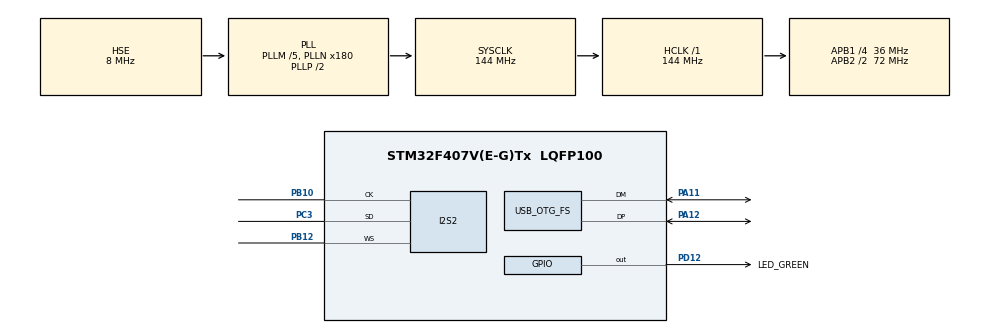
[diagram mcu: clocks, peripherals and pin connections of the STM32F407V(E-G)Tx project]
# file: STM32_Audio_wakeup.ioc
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Dma.Request0=SPI2_RX
Dma.SPI2_RX.0.Direction=DMA_PERIPH_TO_MEMORY
Dma.SPI2_RX.0.FIFOMode=DMA_FIFOMODE_DISABLE
Dma.SPI2_RX.0.Instance=DMA1_Stream3
Dma.SPI2_RX.0.MemDataAlignment=DMA_MDATAALIGN_HALFWORD
Dma.SPI2_RX.0.MemInc=DMA_MINC_ENABLE
Dma.SPI2_RX.0.Mode=DMA_CIRCULAR
Dma.SPI2_RX.0.PeriphDataAlignment=DMA_PDATAALIGN_HALFWORD
Dma.SPI2_RX.0.PeriphInc=DMA_PINC_DISABLE
Dma.SPI2_RX.0.Priority=DMA_PRIORITY_HIGH
I2S2.AudioFreq=I2S_AUDIOFREQ_16K
I2S2.AudioFreqCustom=64000
I2S2.CPOL=I2S_CPOL_LOW
I2S2.DataFormat=I2S_DATAFORMAT_16B
I2S2.ErrorAudioFreq=0.0 %
I2S2.FullDuplexMode=I2S_FULLDUPLEXMODE_DISABLE
I2S2.Instance=SPI$Index
I2S2.Mode=I2S_MODE_MASTER_RX
I2S2.RealAudioFreq=16.0 KHz
I2S2.Standard=I2S_STANDARD_MSB
I2S2.VirtualMode=I2S_MODE_MASTER
Mcu.Family=STM32F4
Mcu.Name=STM32F407V(E-G)Tx
Mcu.Package=LQFP100
NVIC.DMA1_Stream3_IRQn=true\:0\:0\:false\:false\:true\:false\:true\:true
NVIC.OTG_FS_IRQn=true\:0\:0\:false\:false\:true\:true\:true\:true
NVIC.PriorityGroup=NVIC_PRIORITYGROUP_0
NVIC.SPI2_IRQn=true\:0\:0\:false\:false\:true\:true\:true\:true
PA11.Mode=Device_Only
PA11.Signal=USB_OTG_FS_DM
PA12.Mode=Device_Only
PA12.Signal=USB_OTG_FS_DP
PB10.GPIO_Speed=GPIO_SPEED_FREQ_HIGH
PB10.Mode=Half_Duplex_Master
PB10.Signal=I2S2_CK
PB12.GPIO_Speed=GPIO_SPEED_FREQ_HIGH
PB12.Mode=Half_Duplex_Master
PB12.Signal=I2S2_WS
PC3.GPIO_Speed=GPIO_SPEED_FREQ_HIGH
PC3.Mode=Half_Duplex_Master
PC3.Signal=I2S2_SD
PD12.GPIO_Label=LED_GREEN
PD12.Signal=GPIO_Output
PDM2PCM.CHANNEL1_bit_order=PDM_FILTER_BIT_ORDER_LSB
PDM2PCM.CHANNEL1_decimation_factor=PDM_FILTER_DEC_FACTOR_64
PDM2PCM.CHANNEL1_in_ptr_channels=1
PDM2PCM.CHANNEL1_mic_gain=25
PDM2PCM.CHANNEL1_out_ptr_channels=1
PH0-OSC_IN.Mode=HSE-External-Oscillator
PH0-OSC_IN.Signal=RCC_OSC_IN
PH1-OSC_OUT.Mode=HSE-External-Oscillator
PH1-OSC_OUT.Signal=RCC_OSC_OUT
ProjectManager.HeapSize=0x200
ProjectManager.StackSize=0x400
ProjectManager.TargetToolchain=STM32CubeIDE
RCC.48MHZClocksFreq_Value=48000000
RCC.AHBFreq_Value=144000000
RCC.APB1CLKDivider=RCC_HCLK_DIV4
RCC.APB1Freq_Value=36000000
RCC.APB1TimFreq_Value=72000000
RCC.APB2CLKDivider=RCC_HCLK_DIV2
RCC.APB2Freq_Value=72000000
RCC.APB2TimFreq_Value=144000000
RCC.CortexFreq_Value=144000000
RCC.HCLKFreq_Value=144000000
RCC.HSE_VALUE=8000000
RCC.HSI_VALUE=16000000
RCC.LSE_VALUE=32768
RCC.PLLM=5
RCC.PLLN=180
RCC.PLLQ=6
RCC.SYSCLKFreq_VALUE=144000000
RCC.SYSCLKSource=RCC_SYSCLKSOURCE_PLLCLK
RCC.VCOOutputFreq_Value=288000000
USB_DEVICE.CLASS_NAME_FS=CDC
USB_DEVICE.VirtualMode-CDC_FS=Cdc
USB_DEVICE.VirtualModeFS=Cdc_FS
USB_OTG_FS.VirtualMode=Device_Only
VP_CRC_VS_CRC.Mode=CRC_Activate
VP_PDM2PCM_VS_PDM2PCM.Mode=PDM2PCM_Channel
VP_USB_DEVICE_VS_USB_DEVICE_CDC_FS.Mode=CDC_FS
board=STM32F407G-DISC1

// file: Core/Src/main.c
/* USER CODE BEGIN Header */
/**
  ******************************************************************************
  * @file           : main.c
  * @brief          : Main program body
  ******************************************************************************
  * @attention
  *
  * Copyright (c) 2026 STMicroelectronics.
  * All rights reserved.
  *
  * This software is licensed under terms that can be found in the LICENSE file
  * in the root directory of this software component.
  * If no LICENSE file comes with this software, it is provided AS-IS.
  *
  ******************************************************************************
  */
/* USER CODE END Header */
#include "main.h"
#include "pdm2pcm.h"
#include "usb_device.h"

/* USER CODE BEGIN Includes */
#include "usbd_cdc_if.h"
/* USER CODE END Includes */

CRC_HandleTypeDef hcrc;

I2S_HandleTypeDef hi2s2;
DMA_HandleTypeDef hdma_spi2_rx;

/* USER CODE BEGIN PV */
#define PDM_BUFFER_SIZE 2048

uint16_t pdm_buffer[PDM_BUFFER_SIZE];

volatile uint32_t dma_half_count = 0;
volatile uint32_t dma_full_count = 0;

#define PCM_BUFFER_SIZE 512

int16_t pcm_buffer[PCM_BUFFER_SIZE];

volatile uint8_t pdm_half_ready = 0;
volatile uint8_t pdm_full_ready = 0;

volatile uint32_t usb_tx_count = 0;
volatile uint32_t usb_busy_count = 0;
volatile uint32_t usb_error_count = 0;

extern volatile uint8_t usb_tx_ready;

// debug variables
volatile uint16_t pdm_debug[64];
volatile uint32_t debug_i2scfgr;
volatile uint32_t debug_i2spr;
volatile uint32_t debug_standard;
volatile uint32_t debug_register;

// clap detection variables

#define CLAP_WINDOW_SIZE       64
#define CLAP_PEAK_THRESHOLD    5898
#define CLAP_CREST_THRESHOLD  3.0f

#define CLAP_REFRACTORY_MS       100

#define PATTERN_PAUSE_MIN_MS     400
#define PATTERN_PAUSE_MAX_MS     800

#define PATTERN_QUICK_MAX_MS     400
#define PATTERN_RESET_MS        1000

uint8_t led_state = 0;
uint8_t first_clap_detected = 0;

uint32_t first_clap_time = 0;
uint32_t last_clap_time = 0;

uint32_t clap_detect_count = 0;
uint32_t double_clap_count = 0;

uint8_t clap_sequence_active = 0;
uint8_t clap_pattern_state = 0;
uint32_t pattern_last_clap_time = 0;
/* USER CODE END PV */

void SystemClock_Config(void);
static void MX_GPIO_Init(void);
static void MX_DMA_Init(void);
static void MX_I2S2_Init(void);
static void MX_CRC_Init(void);
/* USER CODE BEGIN PFP */
void Process_PDM_To_PCM(uint16_t *pdm, int16_t *pcm)
{

	for (uint32_t i = 0; i < 64; i++)
	{
	    pdm_debug[i] = pdm[i];
	}

    for (uint32_t i = 0; i < 16; i++)
    {
        PDM_Filter(&pdm[i * 64],
                   &pcm[i * 16],
                   &PDM1_filter_handler);
    }
}

uint8_t USB_Send_PCM(int16_t *pcm, uint16_t sample_count)
{
    if (usb_tx_ready == 0)
    {
        usb_busy_count++;
        return USBD_BUSY;
    }

    usb_tx_ready = 0;

    uint8_t status = CDC_Transmit_FS(
        (uint8_t *)pcm,
        sample_count * sizeof(int16_t)
    );

    if (status == USBD_OK)
    {
        usb_tx_count++;
    }
    else
    {
        usb_error_count++;
        usb_tx_ready = 1;
    }

    return status;
}

void Detect_Claps(int16_t *pcm, uint16_t sample_count);
/* USER CODE END PFP */

int main(void)
{

  /* MCU Configuration--------------------------------------------------------*/

  /* Reset of all peripherals, Initializes the Flash interface and the Systick. */
  HAL_Init();

  /* USER CODE BEGIN Init */
  __HAL_RCC_CRC_CLK_ENABLE();
  CRC->CR = CRC_CR_RESET;
  /* USER CODE END Init */

  /* Configure the system clock */
  SystemClock_Config();

  /* Initialize all configured peripherals */
  MX_GPIO_Init();
  MX_DMA_Init();
  MX_I2S2_Init();
  MX_CRC_Init();
  MX_PDM2PCM_Init();
  MX_USB_DEVICE_Init();
  /* USER CODE BEGIN 2 */
  if (HAL_I2S_Receive_DMA(&hi2s2,
                          pdm_buffer,
                          PDM_BUFFER_SIZE) != HAL_OK)
  {
      Error_Handler();
  }
  /* USER CODE END 2 */

  /* Infinite loop */
  /* USER CODE BEGIN WHILE */
  while (1)
  {

      if (pdm_half_ready)
      {
          pdm_half_ready = 0;

          Process_PDM_To_PCM(&pdm_buffer[0],
                             &pcm_buffer[0]);

          Detect_Claps(&pcm_buffer[0], 256);

          USB_Send_PCM(&pcm_buffer[0], 256);
      }

      if (pdm_full_ready)
      {
          pdm_full_ready = 0;

          Process_PDM_To_PCM(&pdm_buffer[1024],
                             &pcm_buffer[256]);

          Detect_Claps(&pcm_buffer[256], 256);

          USB_Send_PCM(&pcm_buffer[256], 256);
      }
    /* USER CODE END WHILE */

  }
}

void SystemClock_Config(void)
{
  RCC_OscInitTypeDef RCC_OscInitStruct = {0};
  RCC_ClkInitTypeDef RCC_ClkInitStruct = {0};

  /** Configure the main internal regulator output voltage
  */
  __HAL_RCC_PWR_CLK_ENABLE();
  __HAL_PWR_VOLTAGESCALING_CONFIG(PWR_REGULATOR_VOLTAGE_SCALE1);

  /** Initializes the RCC Oscillators according to the specified parameters
  * in the RCC_OscInitTypeDef structure.
  */
  RCC_OscInitStruct.OscillatorType = RCC_OSCILLATORTYPE_HSE;
  RCC_OscInitStruct.HSEState = RCC_HSE_ON;
  RCC_OscInitStruct.PLL.PLLState = RCC_PLL_ON;
  RCC_OscInitStruct.PLL.PLLSource = RCC_PLLSOURCE_HSE;
  RCC_OscInitStruct.PLL.PLLM = 5;
  RCC_OscInitStruct.PLL.PLLN = 180;
  RCC_OscInitStruct.PLL.PLLP = RCC_PLLP_DIV2;
  RCC_OscInitStruct.PLL.PLLQ = 6;
  if (HAL_RCC_OscConfig(&RCC_OscInitStruct) != HAL_OK)
  {
    Error_Handler();
  }

  /** Initializes the CPU, AHB and APB buses clocks
  */
  RCC_ClkInitStruct.ClockType = RCC_CLOCKTYPE_HCLK|RCC_CLOCKTYPE_SYSCLK
                              |RCC_CLOCKTYPE_PCLK1|RCC_CLOCKTYPE_PCLK2;
  RCC_ClkInitStruct.SYSCLKSource = RCC_SYSCLKSOURCE_PLLCLK;
  RCC_ClkInitStruct.AHBCLKDivider = RCC_SYSCLK_DIV1;
  RCC_ClkInitStruct.APB1CLKDivider = RCC_HCLK_DIV4;
  RCC_ClkInitStruct.APB2CLKDivider = RCC_HCLK_DIV2;

  if (HAL_RCC_ClockConfig(&RCC_ClkInitStruct, FLASH_LATENCY_4) != HAL_OK)
  {
    Error_Handler();
  }
}

static void MX_CRC_Init(void)
{

  hcrc.Instance = CRC;
  if (HAL_CRC_Init(&hcrc) != HAL_OK)
  {
    Error_Handler();
  }
  __HAL_CRC_DR_RESET(&hcrc);

}

static void MX_I2S2_Init(void)
{

  hi2s2.Instance = SPI2;
  hi2s2.Init.Mode = I2S_MODE_MASTER_RX;
  hi2s2.Init.Standard = I2S_STANDARD_MSB;
  hi2s2.Init.DataFormat = I2S_DATAFORMAT_16B;
  hi2s2.Init.MCLKOutput = I2S_MCLKOUTPUT_DISABLE;
  hi2s2.Init.AudioFreq = I2S_AUDIOFREQ_16K;
  hi2s2.Init.CPOL = I2S_CPOL_LOW;
  hi2s2.Init.ClockSource = I2S_CLOCK_PLL;
  hi2s2.Init.FullDuplexMode = I2S_FULLDUPLEXMODE_DISABLE;
  if (HAL_I2S_Init(&hi2s2) != HAL_OK)
  {
    Error_Handler();
  }
  /* USER CODE BEGIN I2S2_Init 2 */
  debug_i2scfgr = SPI2->I2SCFGR;
  debug_i2spr = SPI2->I2SPR;
  debug_standard = hi2s2.Init.Standard;
  debug_register = SPI2->I2SCFGR;
  /* USER CODE END I2S2_Init 2 */

}

static void MX_DMA_Init(void)
{

  /* DMA controller clock enable */
  __HAL_RCC_DMA1_CLK_ENABLE();

  /* DMA interrupt init */
  /* DMA1_Stream3_IRQn interrupt configuration */
  HAL_NVIC_SetPriority(DMA1_Stream3_IRQn, 0, 0);
  HAL_NVIC_EnableIRQ(DMA1_Stream3_IRQn);

}

static void MX_GPIO_Init(void)
{
  GPIO_InitTypeDef GPIO_InitStruct = {0};

  /* GPIO Ports Clock Enable */
  __HAL_RCC_GPIOH_CLK_ENABLE();
  __HAL_RCC_GPIOC_CLK_ENABLE();
  __HAL_RCC_GPIOB_CLK_ENABLE();
  __HAL_RCC_GPIOD_CLK_ENABLE();
  __HAL_RCC_GPIOA_CLK_ENABLE();

  /*Configure GPIO pin Output Level */
  HAL_GPIO_WritePin(LED_GREEN_GPIO_Port, LED_GREEN_Pin, GPIO_PIN_RESET);

  /*Configure GPIO pin : LED_GREEN_Pin */
  GPIO_InitStruct.Pin = LED_GREEN_Pin;
  GPIO_InitStruct.Mode = GPIO_MODE_OUTPUT_PP;
  GPIO_InitStruct.Pull = GPIO_NOPULL;
  GPIO_InitStruct.Speed = GPIO_SPEED_FREQ_LOW;
  HAL_GPIO_Init(LED_GREEN_GPIO_Port, &GPIO_InitStruct);

}

/* USER CODE BEGIN 4 */
void HAL_I2S_RxHalfCpltCallback(I2S_HandleTypeDef *hi2s)
{
    if (hi2s->Instance == SPI2)
    {
        dma_half_count++;
        pdm_half_ready = 1;
    }
}

void HAL_I2S_RxCpltCallback(I2S_HandleTypeDef *hi2s)
{
    if (hi2s->Instance == SPI2)
    {
        dma_full_count++;
        pdm_full_ready = 1;
    }
}

// function to detect claps

void Detect_Claps(int16_t *pcm, uint16_t sample_count)
{
    static int16_t window[CLAP_WINDOW_SIZE];
    static uint16_t fill_count = 0;

    for (uint16_t i = 0; i < sample_count; i++)
    {
        window[fill_count++] = pcm[i];

        if (fill_count == CLAP_WINDOW_SIZE)
        {
            uint32_t peak = 0;
            uint64_t sum_squares = 0;

            /* Calculate peak and sum of squares */
            for (uint16_t j = 0; j < CLAP_WINDOW_SIZE; j++)
            {
                int32_t sample = window[j];

                uint32_t magnitude =
                    (sample < 0) ? -sample : sample;

                if (magnitude > peak)
                    peak = magnitude;

                sum_squares += (uint64_t)(sample * sample);
            }

            uint64_t mean_square =
                sum_squares / CLAP_WINDOW_SIZE;

            /* Check clap thresholds */
            if ((peak >= CLAP_PEAK_THRESHOLD) &&
                ((uint64_t)peak * peak > 9ULL * mean_square))
            {
                uint32_t now = HAL_GetTick();

                /* Reject repeated detections within 100 ms */
                if ((last_clap_time == 0) ||
                    (now - last_clap_time >= CLAP_REFRACTORY_MS))
                {
                    last_clap_time = now;
                    clap_detect_count++;

                    uint32_t gap = now - pattern_last_clap_time;

                    if (clap_pattern_state == 0)
                    {
                        /* First clap */
                        clap_pattern_state = 1;
                    }
                    else if (clap_pattern_state == 1)
                    {
                        /* Second clap: must follow the pause */
                        if (gap >= PATTERN_PAUSE_MIN_MS &&
                            gap <= PATTERN_PAUSE_MAX_MS)
                        {
                            clap_pattern_state = 2;
                        }
                        else
                        {
                            /* Incorrect timing: restart */
                            clap_pattern_state = 0;
                        }
                    }
                    else if (clap_pattern_state == 2)
                    {
                        /* Third clap: must be quick */
                        if (gap <= PATTERN_QUICK_MAX_MS)
                        {
                            HAL_GPIO_TogglePin(
                                LED_GREEN_GPIO_Port,
                                LED_GREEN_Pin
                            );

                            led_state ^= 1;
                            double_clap_count++;
                        }

                        /* Pattern completed or failed */
                        clap_pattern_state = 0;
                    }

                    pattern_last_clap_time = now;
                }
            }

            /* Reset if no clap arrives for 1 second */
            if ((clap_pattern_state != 0) &&
                (HAL_GetTick() - pattern_last_clap_time >=
                 PATTERN_RESET_MS))
            {
                clap_pattern_state = 0;
            }

            /* Maintain overlapping 64-sample windows */
            for (uint16_t j = 0; j < 32; j++)
            {
                window[j] = window[j + 32];
            }

            fill_count = 32;
        }
    }
}

/* USER CODE END 4 */

void Error_Handler(void)
{
  __disable_irq();
  while (1)
  {
  }
}
